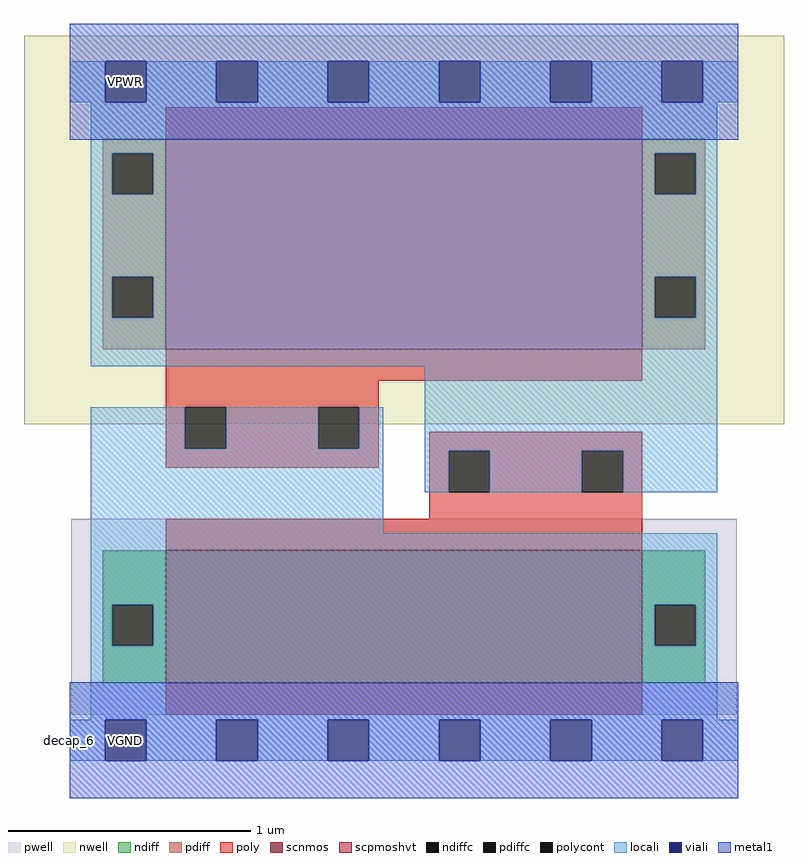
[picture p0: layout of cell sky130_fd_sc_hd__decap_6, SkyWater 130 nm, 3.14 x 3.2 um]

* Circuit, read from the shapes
.subckt sky130_fd_sc_hd__decap_6 VPWR VGND VPB VNB
XM1 VGND VPWR VGND VNB sky130_fd_pr__nfet_01v8 w=0.55 l=1.97
XM2 VPWR VGND VPWR VPB sky130_fd_pr__pfet_01v8_hvt w=0.87 l=1.97
.ends

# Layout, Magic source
magic
tech sky130B
magscale 1 2
<< nwell >>
rect -38 221 590 542
<< pwell >>
rect 1 -19 551 143
rect 29 -57 63 -19
<< scnmos >>
rect 79 7 473 117
<< scpmoshvt >>
rect 79 283 473 457
<< ndiff >>
rect 27 72 79 117
rect 27 38 35 72
rect 69 38 79 72
rect 27 7 79 38
rect 473 72 525 117
rect 473 38 483 72
rect 517 38 525 72
rect 473 7 525 38
<< pdiff >>
rect 27 445 79 457
rect 27 411 35 445
rect 69 411 79 445
rect 27 343 79 411
rect 27 309 35 343
rect 69 309 79 343
rect 27 283 79 309
rect 473 445 525 457
rect 473 411 483 445
rect 517 411 525 445
rect 473 343 525 411
rect 473 309 483 343
rect 517 309 525 343
rect 473 283 525 309
<< ndiffc >>
rect 35 38 69 72
rect 483 38 517 72
<< pdiffc >>
rect 35 411 69 445
rect 35 309 69 343
rect 483 411 517 445
rect 483 309 517 343
<< poly >>
rect 79 457 473 483
rect 79 257 473 283
rect 79 235 255 257
rect 79 201 95 235
rect 129 201 205 235
rect 239 201 255 235
rect 79 185 255 201
rect 297 199 473 215
rect 297 165 313 199
rect 347 165 423 199
rect 457 165 473 199
rect 297 143 473 165
rect 79 117 473 143
rect 79 -19 473 7
<< polycont >>
rect 95 201 129 235
rect 205 201 239 235
rect 313 165 347 199
rect 423 165 457 199
<< locali >>
rect 0 487 29 521
rect 63 487 121 521
rect 155 487 213 521
rect 247 487 305 521
rect 339 487 397 521
rect 431 487 489 521
rect 523 487 552 521
rect 17 445 535 487
rect 17 411 35 445
rect 69 411 483 445
rect 517 411 535 445
rect 17 343 535 411
rect 17 309 35 343
rect 69 309 483 343
rect 517 309 535 343
rect 17 269 535 309
rect 17 201 95 235
rect 129 201 205 235
rect 239 201 259 235
rect 17 131 259 201
rect 293 199 535 269
rect 293 165 313 199
rect 347 165 423 199
rect 457 165 535 199
rect 17 72 535 131
rect 17 38 35 72
rect 69 38 483 72
rect 517 38 535 72
rect 17 -23 535 38
rect 0 -57 29 -23
rect 63 -57 121 -23
rect 155 -57 213 -23
rect 247 -57 305 -23
rect 339 -57 397 -23
rect 431 -57 489 -23
rect 523 -57 552 -23
<< viali >>
rect 29 487 63 521
rect 121 487 155 521
rect 213 487 247 521
rect 305 487 339 521
rect 397 487 431 521
rect 489 487 523 521
rect 29 -57 63 -23
rect 121 -57 155 -23
rect 213 -57 247 -23
rect 305 -57 339 -23
rect 397 -57 431 -23
rect 489 -57 523 -23
<< metal1 >>
rect 0 521 552 552
rect 0 487 29 521
rect 63 487 121 521
rect 155 487 213 521
rect 247 487 305 521
rect 339 487 397 521
rect 431 487 489 521
rect 523 487 552 521
rect 0 456 552 487
rect 0 -23 552 8
rect 0 -57 29 -23
rect 63 -57 121 -23
rect 155 -57 213 -23
rect 247 -57 305 -23
rect 339 -57 397 -23
rect 431 -57 489 -23
rect 523 -57 552 -23
rect 0 -88 552 -57
<< labels >>
rlabel comment s 0 -40 0 -40 4 decap_6
flabel metal1 s 29 487 63 521 0 FreeSans 200 0 0 0 VPWR
port 2 nsew
flabel metal1 s 29 -57 63 -23 0 FreeSans 200 0 0 0 VGND
port 3 nsew
flabel nwell s 29 487 63 521 0 FreeSans 200 0 0 0 VPB
port 5 nsew
flabel pwell s 29 -57 63 -23 0 FreeSans 200 0 0 0 VNB
port 6 nsew
<< properties >>
string FIXED_BBOX 0 -40 552 504
string path 0.000 -1.000 13.800 -1.000 
<< end >>
